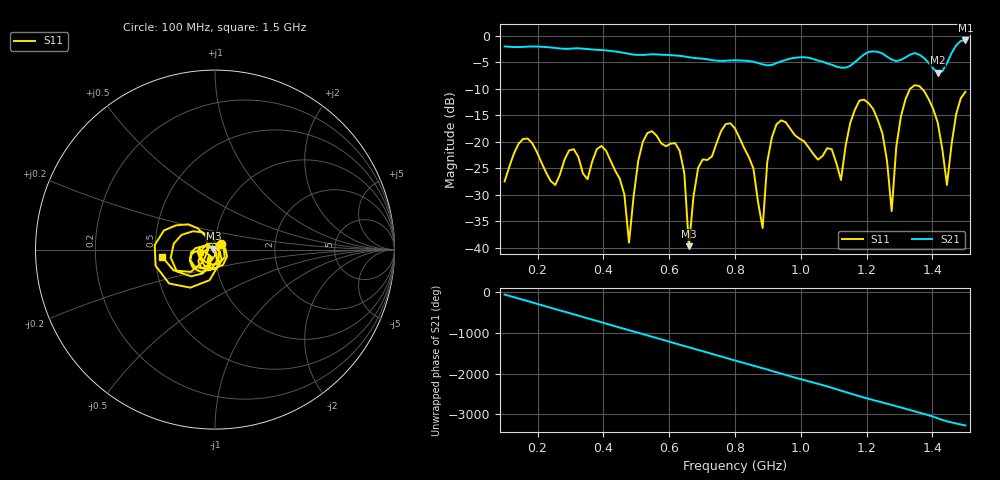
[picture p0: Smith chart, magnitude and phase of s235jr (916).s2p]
! NanoVNA-App
! Date: 2025-09-25 15:11:18
! Start: 100MHz Stop: 1,5GHz Points: 101
! S-Parameter data: F S11 S21 S12 S22
# Hz S RI R 50
!  Frequency  S11_Real  S11_Imag  S21_Real  S21_Imag  S12_Real  S12_Imag  S22_Real  S22_Imag
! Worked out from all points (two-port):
!   101 points, 100 MHz to 1.5 GHz, reference 50 ohm
!   highest |S21| = -0.84 dB at 1.5 GHz (marker M1); lowest = -6.9 dB at 1.416 GHz (marker M2)
!   |S21| within 3 dB of the highest: start of sweep to 643.6 MHz; 1.185 GHz to 1.26 GHz (75.33 MHz wide, 6.16 % of centre) (the widest 2 of 4)
!   lowest |S11| = -39.7 dB at 660 MHz (marker M3), VSWR 1.02, Z = 49.2 + j0.594 ohm
!   |S11| at or under -10 dB: start of sweep to 1.332 GHz; 1.368 GHz to end of sweep
!   S12 and S22 are empty: the file has one direction only
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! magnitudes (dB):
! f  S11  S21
! 100 MHz  -27.5  -2.0
! 156 MHz  -19.5  -2.1
! 338 MHz  -26.0  -2.4
! 408 MHz  -21.6  -2.7
! 478 MHz  -39.0  -3.4
! 520 MHz  -20.0  -3.6
! 576 MHz  -20.3  -3.5
! 632 MHz  -21.7  -3.7
! 660 MHz  -39.7  -4.0
! 688 MHz  -24.9  -4.2
! 800 MHz  -17.5  -4.6
! 884 MHz  -36.3  -5.4
! 926 MHz  -16.7  -5.1
! 1.038 GHz  -22.3  -4.3
! 1.122 GHz  -27.2  -6.0
! 1.192 GHz  -12.0  -3.5
! 1.248 GHz  -18.4  -3.3
! 1.276 GHz  -33.1  -4.4
! 1.332 GHz  -10.0  -3.5
! 1.416 GHz  -16.4  -6.9
! 1.444 GHz  -28.2  -5.1
! 1.5 GHz  -10.6  -0.8
